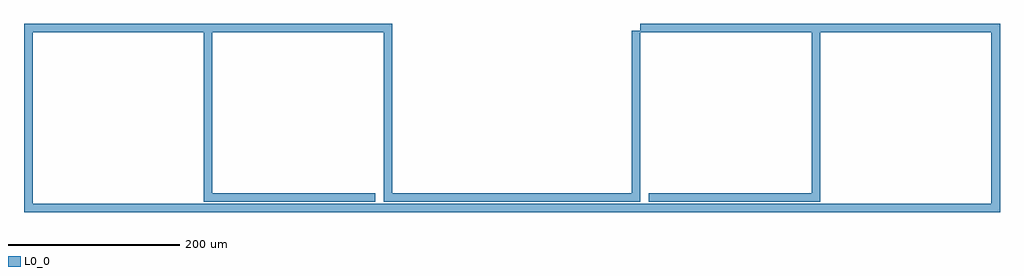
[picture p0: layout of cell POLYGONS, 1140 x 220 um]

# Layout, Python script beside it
#!/usr/bin/env python
import os
from resgds.resonatorshapes import shapes as rs 
from resgds.resonatorshapes import restempfiles as rst
from resgds.braggshapes import bragg
from resgds.interface import interface
# from resgds import *
# import bragg
# from interface import Interface
import gdspy # gds library
import numpy as np
# from restempfiles import *

# Layout filename
layout_file ='dc_measurement.gds'

# CPW Parameters
###########################################################################
sub_x, sub_y = [9000, 4000] # substrate dimensions

def DC_contacts_etch(x0, y0, w, l, bond, gap, contacts=4):
    x0 = float(x0)
    y0 = float(y0)
    shapes = []
    shapes += [rs.rect(4*bond + l + 4*gap, gap, 0, 0)]
    shapes += [rs.rect(gap, bond, 0, gap)]
    shapes += [rs.rect(bond*2 + gap*3, gap, 0, gap + bond)]
    shapes += [rs.rect(gap, bond - w, bond + gap, gap + w)]
    shapes += [rs.rect(bond - gap, gap, bond + 2* gap, gap + w)]
    shapes += [rs.rect(gap, bond, 2*bond + 2*gap, gap + w)]
    shapes += [rs.rect(l - 2*gap, gap, 2*bond + 3*gap, gap + w)]
    shapes += [rs.rect(gap, bond, 2*bond + gap + l, gap + w)]
    shapes += [rs.rect(2*bond + 2*gap, gap, 2*bond + 2*gap + l, gap + bond)]
    shapes += [rs.rect(gap, bond , 3*bond + 2*gap + l, gap + w)]
    shapes += [rs.rect(gap, bond + w , 4*bond + 3*gap + l, gap)]
    shapes += [rs.rect(bond - gap, gap, 2*bond + 3*gap+ l, gap + w)]
   
    # shapes = [move(i, x0, y0) for i in shapes]
   
    return shapes
    
w = 2
gap = 10
l = 300
bond = 200

dc = DC_contacts_etch(0,0,w,l,bond,gap)

for i in range(0,len(dc)):
	dcm = gdspy.Polygon(dc[i],0)
	poly_cell.add(dcm)

###########################################################################
# Make gds file and open up klayout
inter = Interface()
inter.klayout(layout_file)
